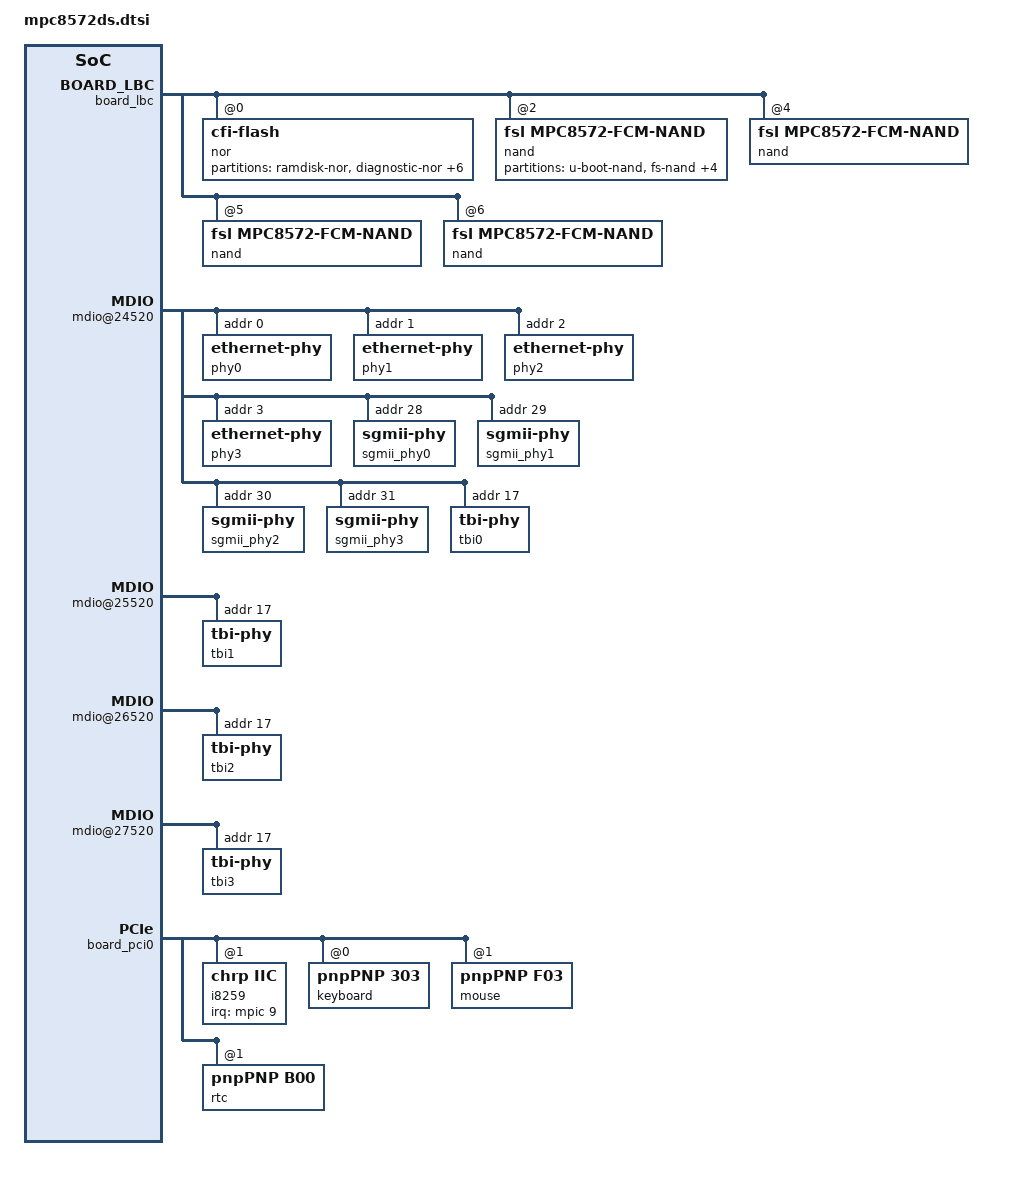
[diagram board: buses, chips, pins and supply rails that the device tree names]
/*
 * MPC8572DS Device Tree Source stub (no addresses or top-level ranges)
 *
 * Copyright 2011 Freescale Semiconductor Inc.
 *
 * Redistribution and use in source and binary forms, with or without
 * modification, are permitted provided that the following conditions are met:
 *     * Redistributions of source code must retain the above copyright
 *       notice, this list of conditions and the following disclaimer.
 *     * Redistributions in binary form must reproduce the above copyright
 *       notice, this list of conditions and the following disclaimer in the
 *       documentation and/or other materials provided with the distribution.
 *     * Neither the name of Freescale Semiconductor nor the
 *       names of its contributors may be used to endorse or promote products
 *       derived from this software without specific prior written permission.
 *
 *
 * ALTERNATIVELY, this software may be distributed under the terms of the
 * GNU General Public License ("GPL") as published by the Free Software
 * Foundation, either version 2 of that License or (at your option) any
 * later version.
 *
 * THIS SOFTWARE IS PROVIDED BY Freescale Semiconductor ``AS IS'' AND ANY
 * EXPRESS OR IMPLIED WARRANTIES, INCLUDING, BUT NOT LIMITED TO, THE IMPLIED
 * WARRANTIES OF MERCHANTABILITY AND FITNESS FOR A PARTICULAR PURPOSE ARE
 * DISCLAIMED. IN NO EVENT SHALL Freescale Semiconductor BE LIABLE FOR ANY
 * DIRECT, INDIRECT, INCIDENTAL, SPECIAL, EXEMPLARY, OR CONSEQUENTIAL DAMAGES
 * (INCLUDING, BUT NOT LIMITED TO, PROCUREMENT OF SUBSTITUTE GOODS OR SERVICES;
 * LOSS OF USE, DATA, OR PROFITS; OR BUSINESS INTERRUPTION) HOWEVER CAUSED AND
 * ON ANY THEORY OF LIABILITY, WHETHER IN CONTRACT, STRICT LIABILITY, OR TORT
 * (INCLUDING NEGLIGENCE OR OTHERWISE) ARISING IN ANY WAY OUT OF THE USE OF THIS
 * SOFTWARE, EVEN IF ADVISED OF THE POSSIBILITY OF SUCH DAMAGE.
 */

&board_lbc {
	nor@0,0 {
		#address-cells = <1>;
		#size-cells = <1>;
		compatible = "cfi-flash";
		reg = <0x0 0x0 0x8000000>;
		bank-width = <2>;
		device-width = <1>;

		partition@0 {
			reg = <0x0 0x03000000>;
			label = "ramdisk-nor";
		};

		partition@3000000 {
			reg = <0x03000000 0x00e00000>;
			label = "diagnostic-nor";
			read-only;
		};

		partition@3e00000 {
			reg = <0x03e00000 0x00200000>;
			label = "dink-nor";
			read-only;
		};

		partition@4000000 {
			reg = <0x04000000 0x00400000>;
			label = "kernel-nor";
		};

		partition@4400000 {
			reg = <0x04400000 0x03b00000>;
			label = "fs-nor";
		};

		partition@7f00000 {
			reg = <0x07f00000 0x00060000>;
			label = "dtb-nor";
		};

		partition@7f60000 {
			reg = <0x07f60000 0x00020000>;
			label = "env-nor";
			read-only;
		};

		partition@7f80000 {
			reg = <0x07f80000 0x00080000>;
			label = "u-boot-nor";
			read-only;
		};
	};

	nand@2,0 {
		#address-cells = <1>;
		#size-cells = <1>;
		compatible = "fsl,mpc8572-fcm-nand",
			     "fsl,elbc-fcm-nand";
		reg = <0x2 0x0 0x40000>;

		partition@0 {
			reg = <0x0 0x02000000>;
			label = "u-boot-nand";
			read-only;
		};

		partition@2000000 {
			reg = <0x02000000 0x10000000>;
			label = "fs-nand";
		};

		partition@12000000 {
			reg = <0x12000000 0x08000000>;
			label = "ramdisk-nand";
		};

		partition@1a000000 {
			reg = <0x1a000000 0x04000000>;
			label = "kernel-nand";
		};

		partition@1e000000 {
			reg = <0x1e000000 0x01000000>;
			label = "dtb-nand";
		};

		partition@1f000000 {
			reg = <0x1f000000 0x21000000>;
			label = "empty-nand";
		};
	};

	nand@4,0 {
		compatible = "fsl,mpc8572-fcm-nand",
			     "fsl,elbc-fcm-nand";
		reg = <0x4 0x0 0x40000>;
	};

	nand@5,0 {
		compatible = "fsl,mpc8572-fcm-nand",
			     "fsl,elbc-fcm-nand";
		reg = <0x5 0x0 0x40000>;
	};

	nand@6,0 {
		compatible = "fsl,mpc8572-fcm-nand",
			     "fsl,elbc-fcm-nand";
		reg = <0x6 0x0 0x40000>;
	};
};

&board_soc {
	enet0: ethernet@24000 {
		tbi-handle = <&tbi0>;
		phy-handle = <&phy0>;
		phy-connection-type = "rgmii-id";
	};

	mdio@24520 {
		phy0: ethernet-phy@0 {
			interrupts = <10 1 0 0>;
			reg = <0x0>;
		};
		phy1: ethernet-phy@1 {
			interrupts = <10 1 0 0>;
			reg = <0x1>;
		};
		phy2: ethernet-phy@2 {
			interrupts = <10 1 0 0>;
			reg = <0x2>;
		};
		phy3: ethernet-phy@3 {
			interrupts = <10 1 0 0>;
			reg = <0x3>;
		};

		sgmii_phy0: sgmii-phy@0 {
			interrupts = <6 1 0 0>;
			reg = <0x1c>;
		};
		sgmii_phy1: sgmii-phy@1 {
			interrupts = <6 1 0 0>;
			reg = <0x1d>;
		};
		sgmii_phy2: sgmii-phy@2 {
			interrupts = <7 1 0 0>;
			reg = <0x1e>;
		};
		sgmii_phy3: sgmii-phy@3 {
			interrupts = <7 1 0 0>;
			reg = <0x1f>;
		};

		tbi0: tbi-phy@11 {
			reg = <0x11>;
			device_type = "tbi-phy";
		};
	};

	ptp_clock@24e00 {
		fsl,tclk-period = <5>;
		fsl,tmr-prsc = <200>;
		fsl,tmr-add = <0xAAAAAAAB>;
		fsl,tmr-fiper1 = <0x3B9AC9FB>;
		fsl,tmr-fiper2 = <0x3B9AC9FB>;
		fsl,max-adj = <499999999>;
	};

	enet1: ethernet@25000 {
		tbi-handle = <&tbi1>;
		phy-handle = <&phy1>;
		phy-connection-type = "rgmii-id";

	};

	mdio@25520 {
		tbi1: tbi-phy@11 {
			reg = <0x11>;
			device_type = "tbi-phy";
		};
	};

	enet2: ethernet@26000 {
		tbi-handle = <&tbi2>;
		phy-handle = <&phy2>;
		phy-connection-type = "rgmii-id";

	};
	mdio@26520 {
		tbi2: tbi-phy@11 {
			reg = <0x11>;
			device_type = "tbi-phy";
		};
	};

	enet3: ethernet@27000 {
		tbi-handle = <&tbi3>;
		phy-handle = <&phy3>;
		phy-connection-type = "rgmii-id";
	};

	mdio@27520 {
		tbi3: tbi-phy@11 {
			reg = <0x11>;
			device_type = "tbi-phy";
		};
	};
};

&board_pci0 {
	pcie@0 {
		interrupt-map-mask = <0xff00 0x0 0x0 0x7>;
		interrupt-map = <
			/* IDSEL 0x11 func 0 - PCI slot 1 */
			0x8800 0x0 0x0 0x1 &mpic 0x2 0x1 0 0
			0x8800 0x0 0x0 0x2 &mpic 0x3 0x1 0 0
			0x8800 0x0 0x0 0x3 &mpic 0x4 0x1 0 0
			0x8800 0x0 0x0 0x4 &mpic 0x1 0x1 0 0

			/* IDSEL 0x11 func 1 - PCI slot 1 */
			0x8900 0x0 0x0 0x1 &mpic 0x2 0x1 0 0
			0x8900 0x0 0x0 0x2 &mpic 0x3 0x1 0 0
			0x8900 0x0 0x0 0x3 &mpic 0x4 0x1 0 0
			0x8900 0x0 0x0 0x4 &mpic 0x1 0x1 0 0

			/* IDSEL 0x11 func 2 - PCI slot 1 */
			0x8a00 0x0 0x0 0x1 &mpic 0x2 0x1 0 0
			0x8a00 0x0 0x0 0x2 &mpic 0x3 0x1 0 0
			0x8a00 0x0 0x0 0x3 &mpic 0x4 0x1 0 0
			0x8a00 0x0 0x0 0x4 &mpic 0x1 0x1 0 0

			/* IDSEL 0x11 func 3 - PCI slot 1 */
			0x8b00 0x0 0x0 0x1 &mpic 0x2 0x1 0 0
			0x8b00 0x0 0x0 0x2 &mpic 0x3 0x1 0 0
			0x8b00 0x0 0x0 0x3 &mpic 0x4 0x1 0 0
			0x8b00 0x0 0x0 0x4 &mpic 0x1 0x1 0 0

			/* IDSEL 0x11 func 4 - PCI slot 1 */
			0x8c00 0x0 0x0 0x1 &mpic 0x2 0x1 0 0
			0x8c00 0x0 0x0 0x2 &mpic 0x3 0x1 0 0
			0x8c00 0x0 0x0 0x3 &mpic 0x4 0x1 0 0
			0x8c00 0x0 0x0 0x4 &mpic 0x1 0x1 0 0

			/* IDSEL 0x11 func 5 - PCI slot 1 */
			0x8d00 0x0 0x0 0x1 &mpic 0x2 0x1 0 0
			0x8d00 0x0 0x0 0x2 &mpic 0x3 0x1 0 0
			0x8d00 0x0 0x0 0x3 &mpic 0x4 0x1 0 0
			0x8d00 0x0 0x0 0x4 &mpic 0x1 0x1 0 0

			/* IDSEL 0x11 func 6 - PCI slot 1 */
			0x8e00 0x0 0x0 0x1 &mpic 0x2 0x1 0 0
			0x8e00 0x0 0x0 0x2 &mpic 0x3 0x1 0 0
			0x8e00 0x0 0x0 0x3 &mpic 0x4 0x1 0 0
			0x8e00 0x0 0x0 0x4 &mpic 0x1 0x1 0 0

			/* IDSEL 0x11 func 7 - PCI slot 1 */
			0x8f00 0x0 0x0 0x1 &mpic 0x2 0x1 0 0
			0x8f00 0x0 0x0 0x2 &mpic 0x3 0x1 0 0
			0x8f00 0x0 0x0 0x3 &mpic 0x4 0x1 0 0
			0x8f00 0x0 0x0 0x4 &mpic 0x1 0x1 0 0

			/* IDSEL 0x12 func 0 - PCI slot 2 */
			0x9000 0x0 0x0 0x1 &mpic 0x3 0x1 0 0
			0x9000 0x0 0x0 0x2 &mpic 0x4 0x1 0 0
			0x9000 0x0 0x0 0x3 &mpic 0x1 0x1 0 0
			0x9000 0x0 0x0 0x4 &mpic 0x2 0x1 0 0

			/* IDSEL 0x12 func 1 - PCI slot 2 */
			0x9100 0x0 0x0 0x1 &mpic 0x3 0x1 0 0
			0x9100 0x0 0x0 0x2 &mpic 0x4 0x1 0 0
			0x9100 0x0 0x0 0x3 &mpic 0x1 0x1 0 0
			0x9100 0x0 0x0 0x4 &mpic 0x2 0x1 0 0

			/* IDSEL 0x12 func 2 - PCI slot 2 */
			0x9200 0x0 0x0 0x1 &mpic 0x3 0x1 0 0
			0x9200 0x0 0x0 0x2 &mpic 0x4 0x1 0 0
			0x9200 0x0 0x0 0x3 &mpic 0x1 0x1 0 0
			0x9200 0x0 0x0 0x4 &mpic 0x2 0x1 0 0

			/* IDSEL 0x12 func 3 - PCI slot 2 */
			0x9300 0x0 0x0 0x1 &mpic 0x3 0x1 0 0
			0x9300 0x0 0x0 0x2 &mpic 0x4 0x1 0 0
			0x9300 0x0 0x0 0x3 &mpic 0x1 0x1 0 0
			0x9300 0x0 0x0 0x4 &mpic 0x2 0x1 0 0

			/* IDSEL 0x12 func 4 - PCI slot 2 */
			0x9400 0x0 0x0 0x1 &mpic 0x3 0x1 0 0
			0x9400 0x0 0x0 0x2 &mpic 0x4 0x1 0 0
			0x9400 0x0 0x0 0x3 &mpic 0x1 0x1 0 0
			0x9400 0x0 0x0 0x4 &mpic 0x2 0x1 0 0

			/* IDSEL 0x12 func 5 - PCI slot 2 */
			0x9500 0x0 0x0 0x1 &mpic 0x3 0x1 0 0
			0x9500 0x0 0x0 0x2 &mpic 0x4 0x1 0 0
			0x9500 0x0 0x0 0x3 &mpic 0x1 0x1 0 0
			0x9500 0x0 0x0 0x4 &mpic 0x2 0x1 0 0

			/* IDSEL 0x12 func 6 - PCI slot 2 */
			0x9600 0x0 0x0 0x1 &mpic 0x3 0x1 0 0
			0x9600 0x0 0x0 0x2 &mpic 0x4 0x1 0 0
			0x9600 0x0 0x0 0x3 &mpic 0x1 0x1 0 0
			0x9600 0x0 0x0 0x4 &mpic 0x2 0x1 0 0

			/* IDSEL 0x12 func 7 - PCI slot 2 */
			0x9700 0x0 0x0 0x1 &mpic 0x3 0x1 0 0
			0x9700 0x0 0x0 0x2 &mpic 0x4 0x1 0 0
			0x9700 0x0 0x0 0x3 &mpic 0x1 0x1 0 0
			0x9700 0x0 0x0 0x4 &mpic 0x2 0x1 0 0

			// IDSEL 0x1c  USB
			0xe000 0x0 0x0 0x1 &i8259 0xc 0x2
			0xe100 0x0 0x0 0x2 &i8259 0x9 0x2
			0xe200 0x0 0x0 0x3 &i8259 0xa 0x2
			0xe300 0x0 0x0 0x4 &i8259 0xb 0x2

			// IDSEL 0x1d  Audio
			0xe800 0x0 0x0 0x1 &i8259 0x6 0x2

			// IDSEL 0x1e Legacy
			0xf000 0x0 0x0 0x1 &i8259 0x7 0x2
			0xf100 0x0 0x0 0x1 &i8259 0x7 0x2

			// IDSEL 0x1f IDE/SATA
			0xf800 0x0 0x0 0x1 &i8259 0xe 0x2
			0xf900 0x0 0x0 0x1 &i8259 0x5 0x2
			>;


		uli1575@0 {
			reg = <0x0 0x0 0x0 0x0 0x0>;
			#size-cells = <2>;
			#address-cells = <3>;
			ranges = <0x2000000 0x0 0x80000000
				  0x2000000 0x0 0x80000000
				  0x0 0x20000000

				  0x1000000 0x0 0x0
				  0x1000000 0x0 0x0
				  0x0 0x10000>;
			isa@1e {
				device_type = "isa";
				#interrupt-cells = <2>;
				#size-cells = <1>;
				#address-cells = <2>;
				reg = <0xf000 0x0 0x0 0x0 0x0>;
				ranges = <0x1 0x0 0x1000000 0x0 0x0
					  0x1000>;
				interrupt-parent = <&i8259>;

				i8259: interrupt-controller@20 {
					reg = <0x1 0x20 0x2
					       0x1 0xa0 0x2
					       0x1 0x4d0 0x2>;
					interrupt-controller;
					device_type = "interrupt-controller";
					#address-cells = <0>;
					#interrupt-cells = <2>;
					compatible = "chrp,iic";
					interrupts = <9 2 0 0>;
					interrupt-parent = <&mpic>;
				};

				i8042@60 {
					#size-cells = <0>;
					#address-cells = <1>;
					reg = <0x1 0x60 0x1 0x1 0x64 0x1>;
					interrupts = <1 3 12 3>;
					interrupt-parent =
						<&i8259>;

					keyboard@0 {
						reg = <0x0>;
						compatible = "pnpPNP,303";
					};

					mouse@1 {
						reg = <0x1>;
						compatible = "pnpPNP,f03";
					};
				};

				rtc@70 {
					compatible = "pnpPNP,b00";
					reg = <0x1 0x70 0x2>;
				};

				gpio@400 {
					reg = <0x1 0x400 0x80>;
				};
			};
		};
	};
};
